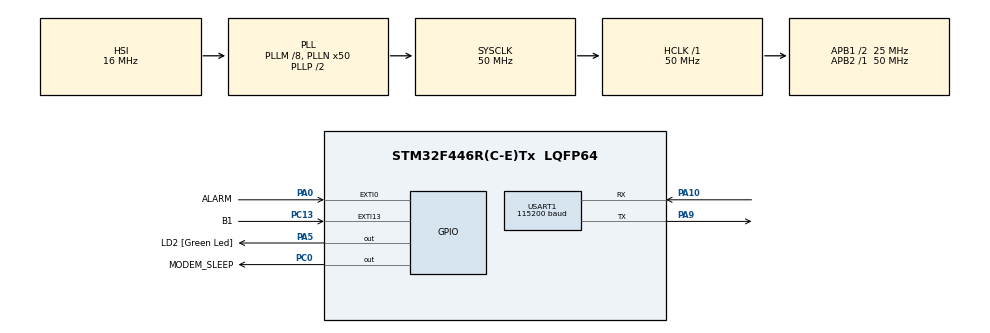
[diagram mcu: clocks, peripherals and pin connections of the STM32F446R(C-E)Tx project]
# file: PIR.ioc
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FREERTOS.Tasks01=defaultTask,24,128,StartDefaultTask,Default,NULL,Dynamic,NULL,NULL
FREERTOS.configTOTAL_HEAP_SIZE=61440
FREERTOS.configUSE_NEWLIB_REENTRANT=1
Mcu.Family=STM32F4
Mcu.Name=STM32F446R(C-E)Tx
Mcu.Package=LQFP64
NVIC.EXTI0_IRQn=true\:5\:0\:false\:false\:true\:true\:true\:true\:true
NVIC.EXTI15_10_IRQn=true\:5\:0\:false\:false\:true\:true\:true\:true\:true
NVIC.PriorityGroup=NVIC_PRIORITYGROUP_4
NVIC.RTC_Alarm_IRQn=true\:5\:0\:false\:false\:true\:true\:true\:true\:true
NVIC.TIM1_UP_TIM10_IRQn=true\:0\:0\:true\:false\:true\:false\:false\:true\:true
NVIC.TimeBase=TIM1_UP_TIM10_IRQn
NVIC.TimeBaseIP=TIM1
PA0-WKUP.GPIO_Label=ALARM
PA0-WKUP.GPIO_ModeDefaultEXTI=GPIO_MODE_IT_RISING
PA0-WKUP.GPIO_PuPd=GPIO_PULLUP
PA0-WKUP.Signal=GPXTI0
PA10.Mode=Asynchronous
PA10.Signal=USART1_RX
PA13.GPIO_Label=TMS
PA13.Mode=Serial_Wire
PA13.Signal=SYS_JTMS-SWDIO
PA14.GPIO_Label=TCK
PA14.Mode=Serial_Wire
PA14.Signal=SYS_JTCK-SWCLK
PA2.GPIO_ModeDefaultPP=GPIO_MODE_AF_PP
PA2.GPIO_PuPd=GPIO_NOPULL
PA2.GPIO_Speed=GPIO_SPEED_FREQ_VERY_HIGH
PA2.Signal=USART2_TX
PA3.GPIO_ModeDefaultPP=GPIO_MODE_AF_PP
PA3.GPIO_PuPd=GPIO_NOPULL
PA3.GPIO_Speed=GPIO_SPEED_FREQ_VERY_HIGH
PA3.Signal=USART2_RX
PA5.GPIO_Label=LD2 [Green Led]
PA5.Signal=GPIO_Output
PA9.GPIO_PuPd=GPIO_PULLUP
PA9.Mode=Asynchronous
PA9.Signal=USART1_TX
PB3.GPIO_Label=SWO
PB3.Signal=SYS_JTDO-SWO
PC0.GPIO_Label=MODEM_SLEEP
PC0.GPIO_Speed=GPIO_SPEED_FREQ_LOW
PC0.Signal=GPIO_Output
PC13.GPIO_Label=B1
PC13.GPIO_ModeDefaultEXTI=GPIO_MODE_IT_FALLING
PC13.GPIO_PuPd=GPIO_PULLUP
PC13.Signal=GPXTI13
ProjectManager.HeapSize=0x200
ProjectManager.StackSize=0x400
ProjectManager.TargetToolchain=STM32CubeIDE
RCC.48MHZClocksFreq_Value=84000000
RCC.AHBFreq_Value=50000000
RCC.APB1CLKDivider=RCC_HCLK_DIV2
RCC.APB1Freq_Value=25000000
RCC.APB1TimFreq_Value=50000000
RCC.APB2Freq_Value=50000000
RCC.APB2TimFreq_Value=50000000
RCC.CortexFreq_Value=50000000
RCC.FLatency-AdvancedSettings=FLASH_LATENCY_1
RCC.HCLKFreq_Value=50000000
RCC.HSE_VALUE=8000000
RCC.HSI_VALUE=16000000
RCC.PLLM=8
RCC.PLLN=50
RCC.SYSCLKFreq_VALUE=50000000
RCC.SYSCLKSource=RCC_SYSCLKSOURCE_PLLCLK
RCC.USBFreq_Value=50000000
RCC.VCOOutputFreq_Value=100000000
RTC.Alarm=RTC_ALARM_A
USART1.BaudRate=115200
USART1.VirtualMode=VM_ASYNC
VP_FREERTOS_VS_CMSIS_V2.Mode=CMSIS_V2
VP_RTC_VS_RTC_Activate.Mode=RTC_Enabled
VP_RTC_VS_RTC_Alarm_A_Intern.Mode=Alarm A
VP_RTC_VS_RTC_Calendar.Mode=RTC_Calendar
VP_SYS_VS_tim1.Mode=TIM1
board=NUCLEO-F446RE

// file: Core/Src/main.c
/* USER CODE BEGIN Header */
/**
 ******************************************************************************
 * @file           : main.c
 * @brief          : Main program body - Gestion Modem A7670G (Mode CSCLK=2)
 ******************************************************************************
 */
/* USER CODE END Header */
#include "main.h"
#include "cmsis_os.h"

/* USER CODE BEGIN Includes */
#include <string.h>
#include <stdio.h>
#include <stm32f446xx.h>
/* USER CODE END Includes */

/* USER CODE BEGIN PD */
#define LED_PIN GPIO_PIN_5
#define LED_PORT GPIOA
/* USER CODE END PD */

RTC_HandleTypeDef hrtc;

UART_HandleTypeDef huart1;

/* Definitions for defaultTask */
osThreadId_t defaultTaskHandle;
const osThreadAttr_t defaultTask_attributes = {
  .name = "defaultTask",
  .stack_size = 128 * 4,
  .priority = (osPriority_t) osPriorityNormal,
};
/* USER CODE BEGIN PV */
osSemaphoreId_t mySemaphoreAlarm; // Semaphore alarme
char modem_buffer[512] = {0}; // Buffer réception modem
/* USER CODE END PV */

void SystemClock_Config(void);
static void MX_GPIO_Init(void);
static void MX_RTC_Init(void);
static void MX_USART1_UART_Init(void);
void StartDefaultTask(void *argument);

/* USER CODE BEGIN PFP */
void ThreadAlarm(void *argument);
void ThreadReception(void *argument);
ModemStatus Modem_Set_Sleep_Mode(int mode);
ModemStatus Modem_Check_Alive(void);
ModemStatus Modem_Send_AT_Wait(char* cmd, char* expected_resp, uint32_t timeout);
ModemStatus Modem_Init_Sequence(void);
ModemStatus Modem_Send_SMS(char* phone_number, char* message);
void Modem_Free_Send_Notif(UART_HandleTypeDef *huart, char *user, char *pass, char *msg);
void Modem_Free_Init(void);
int Modem_Get_Signal_Quality(void);
ModemStatus Modem_Init(void);
/* USER CODE END PFP */

/* USER CODE BEGIN 0 */

// Redirection de printf vers ITM (SWO)
int _write(int file, char *ptr, int len)
{
	for (int i = 0; i < len; i++)
		ITM_SendChar(*ptr++);
	return len;
}

/* Synchronisation de l'heure via NTP (Internet) */
ModemStatus Modem_Sync_Time_NTP(void) {
	printf("\tSync Heure NTP...");

	// 1. Configurer le serveur NTP
	// "fr.pool.ntp.org" = Serveur français
	// 4 = GMT+1 (4 quarts d'heure). Mets 8 pour l'été (GMT+2).
	if (Modem_Send_AT_Wait("AT+CNTP=\"fr.pool.ntp.org\",0\r", "OK", 2000) != MODEM_OK) {
		printf(" FAIL (Config)\n");
		return ERR_NTP; // Code erreur générique, tu peux en créer un spécifique
	}

	// 2. Lancer la synchro
	// Le modem répond d'abord "OK", puis quelques secondes après "+CNTP: 0" (Succès)
	// On met un timeout long (15s) pour laisser le temps au réseau
	if (Modem_Send_AT_Wait("AT+CNTP\r", "+CNTP: 0", 15000) != MODEM_OK) {
		printf(" FAIL (Timeout ou Erreur Reseau)\n");
		return ERR_NTP;
	}

	printf(" OK\n");

	// 3. Lire l'heure fraîchement acquise et mettre à jour le STM32
	// Une fois CNTP ok, l'horloge interne du modem (CCLK) est à jour.
	// On la récupère pour régler le RTC du microcontrôleur.
	memset(modem_buffer, 0, sizeof(modem_buffer));
	if (Modem_Send_AT_Wait("AT+CCLK?\r", "OK", 1000) == MODEM_OK) {

		// Format reçu : +CCLK: "yy/MM/dd,hh:mm:ss+zz"
		char *ptr = strstr(modem_buffer, "+CCLK: \"");
		if (ptr != NULL) {
			RTC_TimeTypeDef sTime = {0};
			RTC_DateTypeDef sDate = {0};

			ptr += 8; // On saute +CCLK: "

			// Parsing rapide (Attention : sscanf dépend de ta lib standard, sinon faire manuellement)
			int yy, MM, dd, hh, mm, ss;
			sscanf(ptr, "%d/%d/%d,%d:%d:%d", &yy, &MM, &dd, &hh, &mm, &ss);

			sTime.Hours = hh;
			sTime.Minutes = mm;
			sTime.Seconds = ss;
			HAL_RTC_SetTime(&hrtc, &sTime, RTC_FORMAT_BIN);

			sDate.Year = yy; // Le RTC STM32 prend l'année sur 2 digits (20xx)
			sDate.Month = MM;
			sDate.Date = dd;
			// Note: Le WeekDay n'est pas calculé ici, mais c'est pas critique pour toi
			HAL_RTC_SetDate(&hrtc, &sDate, RTC_FORMAT_BIN);

			printf("\tRTC STM32 mis a jour: %02d:%02d:%02d\n", hh, mm, ss);
		}
	}

	return MODEM_OK;
}

/* Fonction d'encodage URL simple (remplace espaces par %20) */
void url_encode(char *dest, const char *src) {
	while (*src) {
		if (*src == ' ') {
			// On remplace l'espace par %20
			*dest++ = '%';
			*dest++ = '2';
			*dest++ = '0';
		} else {
			// On recopie le caractère tel quel
			*dest++ = *src;
		}
		src++;
	}
	*dest = '\0'; // On termine la chaîne de caractères
}

/* Récupération de l'heure réseau brute (format YY/MM/DD,HH:MM) */
void Get_Network_Time_Raw(char *dest_time) {
	strcpy(dest_time, "Date_Inconnue");

	// Nettoyage buffer
	memset(modem_buffer, 0, sizeof(modem_buffer));

	if (Modem_Send_AT_Wait("AT+CCLK?\r", "OK", 1000) == MODEM_OK) {
		osDelay(100); // Laisse l'UART finir la réception
		char *ptr = strstr(modem_buffer, "\"");
		if (ptr != NULL) {
			ptr++;
			strncpy(dest_time, ptr, 14); // Copie "YY/MM/DD,HH:MM"
			dest_time[14] = '\0';
		}
	}
}

/* Gestion GPIO Modem Sleep */
void gpio_Wakeup(void) {
	HAL_GPIO_WritePin(MODEM_SLEEP_GPIO_Port, MODEM_SLEEP_Pin, GPIO_PIN_SET);
	osDelay(50);
	printf("Modem reveille.\n");
}

/* Gestion GPIO Modem Sleep */
void gpio_Sleep(void) {
	osDelay(50);
	HAL_GPIO_WritePin(MODEM_SLEEP_GPIO_Port, MODEM_SLEEP_Pin, GPIO_PIN_RESET);
	printf("Modem en veille.\n");
}

/* Gestion LED */
void LED_ON(void)
{
	HAL_GPIO_WritePin(LED_PORT, LED_PIN, GPIO_PIN_SET);
}
/* Gestion LED */
void LED_OFF(void) {
	HAL_GPIO_WritePin(LED_PORT, LED_PIN, GPIO_PIN_RESET);
}

/* Configuration mode veille automatique CSCLK */
ModemStatus Modem_Set_Sleep_Mode(int mode) {

	char cmd[32];

	ModemStatus status = ERR_SLEEPMODE;
	sprintf(cmd, "AT+CSCLK=%d\r", mode);
	status = Modem_Send_AT_Wait(cmd, "OK", 1000);
	if (status != MODEM_OK) {
		printf("Erreur activation CSCLK=%i\n",mode);
	}
	else {
		printf("Mode CSCLK=%i actif.\n",mode);
	}
	return status;
}

/* Vérification si le modem répond */
ModemStatus Modem_Check_Alive() {
	int essais_max = 20;

	// On nettoie préventivement l'UART (ORE)
	if (__HAL_UART_GET_FLAG(&huart1, UART_FLAG_ORE)) {
		__HAL_UART_CLEAR_OREFLAG(&huart1);
		volatile uint32_t tmpreg = huart1.Instance->DR; (void)tmpreg;
	}

	for (int i = 0; i < essais_max; i++) {
		printf("Ping modem (%d/%d)...\n", i+1, essais_max);

		// Si tu utilises ta fonction qui attend la réponse :
		if (Modem_Send_AT_Wait("AT\r", "OK", 200) == MODEM_OK) { // Timeout court (200ms)

			// 2. VICTOIRE ! On a eu "OK".
			// On ne spamme plus, on sort immédiatement.
			printf(" -> Modem repond ! On arrete le spam.\n");

			// Petit délai de sécurité pour vider les buffers si besoin
			osDelay(50);
			return MODEM_OK; // Succès
		}

		osDelay(50);
	}

	return ERR_NOT_ALIVE; // Le modem est mort ou sourd
}

/* Envoi d'une commande AT et attente d'une réponse spécifique */
ModemStatus Modem_Send_AT_Wait(char* cmd, char* expected_resp, uint32_t timeout) {

	// 1. Nettoyage PRÉVENTIF (Si un Overrun traîne, on le vire)
	if (__HAL_UART_GET_FLAG(&huart1, UART_FLAG_ORE)) {
		__HAL_UART_CLEAR_OREFLAG(&huart1);
		volatile uint32_t tmpreg = huart1.Instance->DR; (void)tmpreg;
	}

	// 2. Envoi
	memset(modem_buffer, 0, sizeof(modem_buffer));
	HAL_UART_Transmit(&huart1, (uint8_t*)cmd, strlen(cmd), 1000);

	// 3. Réception
	uint32_t tickstart = HAL_GetTick();
	int index = 0;

	while ((HAL_GetTick() - tickstart) < timeout) {
		uint8_t received_char = 0;

		// On récupère le statut de la lecture
		HAL_StatusTypeDef status = HAL_UART_Receive(&huart1, &received_char, 1, 10);

		if (status == HAL_OK) {
			// Lecture réussie
			if (index < sizeof(modem_buffer) - 1) {
				modem_buffer[index++] = received_char;
				modem_buffer[index] = '\0';
			}
			// Vérification de la réponse
			if (strstr(modem_buffer, expected_resp) != NULL) {
				return MODEM_OK;
			}
		}
		else if (status == HAL_ERROR) {
			// <<< CORRECTION OVERRUN >>>
			// Si le STM32 détecte une erreur (bruit, overrun), il faut l'acquitter
			if (__HAL_UART_GET_FLAG(&huart1, UART_FLAG_ORE)) {
				__HAL_UART_CLEAR_OREFLAG(&huart1);
				// Lecture fictive du DR pour valider le clear (F4/F1)
				volatile uint32_t tmpreg = huart1.Instance->DR;
				(void)tmpreg;
			}
		}
	}
	return ERR_NOT_INITIALIZED; // Timeout
}

/* Thread alarm */
void ThreadAlarm(void *argument)
{
	static uint32_t last_sms_tick = 0;
	const uint32_t SMS_COOLDOWN = 12000;
	static uint32_t cptAlarm = 0;
	char buffer_msg[64]={0};

	for(;;)
	{
		osSemaphoreAcquire(mySemaphoreAlarm, osWaitForever);
		LED_ON();

		if (HAL_GetTick() - last_sms_tick > SMS_COOLDOWN)
		{
			printf("Alarme VALIDE\n");
			gpio_Wakeup();

			cptAlarm++;

			if (Modem_Check_Alive() == MODEM_OK)
			{
				snprintf(buffer_msg, sizeof(buffer_msg), "@ %lu", cptAlarm);
				Modem_Free_Send_Notif(&huart1, USER_FREE, CLE_API, buffer_msg);
			}

			last_sms_tick = HAL_GetTick();

			printf("Attente transmission radio (10s)...\n");
			osDelay(10000);
		}
		else
		{
			printf("Alarme ignoree (Cooldown actif)\n");
		}

		gpio_Sleep();
		LED_OFF();
		osSemaphoreAcquire(mySemaphoreAlarm, 0);
	}
}

// Thread réception (Echo simple pour l'instant)
void ThreadReception(void *argument)
{
	for(;;)
	{
		osDelay(10);
	}
}

/* Séquence d'initialisation du modem */
ModemStatus Modem_Init_Sequence(void) {
	int retry = 0;
	ModemStatus retVal = ERR_NOT_INITIALIZED;

	memset(modem_buffer, 0, sizeof(modem_buffer));

	if ( Modem_Check_Alive() != MODEM_OK ) {
		printf("Modem non joignable apres 10 essais.\n");
		return ERR_NOT_INITIALIZED;
	}

	// 1. Sync Baudrate
	printf("\tSync baudrate...");
	while(Modem_Send_AT_Wait("AT\r", "OK", 500) != MODEM_OK) {
		retry++;
		if(retry > 10) {
			printf(" FAIL\n");
			return ERR_AT_SYNC;
		}
		osDelay(200);
	}
	printf(" OK\n");

	osDelay(50);

	// 3. Carte SIM
	printf("\tVerif SIM...");
	if (Modem_Send_AT_Wait("AT+CPIN?\r", "+CPIN: READY", 500) != MODEM_OK) {
		if (Modem_Send_AT_Wait("AT+CPIN?\r", "+CPIN: SIM PIN", 500) == MODEM_OK) {
			if (Modem_Send_AT_Wait(AT_PIN_CMD, "OK", 2000) != MODEM_OK) return ERR_CPIN;
			osDelay(3000);
			if (Modem_Send_AT_Wait("AT+CPIN?\r", "+CPIN: READY", 1000) != MODEM_OK) return ERR_CPIN;
		}
	}
	printf(" OK\n");

	// 4. Réseau
	printf("\tVerif Reseau... ");
	if (Modem_Send_AT_Wait("AT+CEREG?\r", "OK", 5000) == MODEM_OK) {
		// Accepte Home(1), Roaming(5), SMS Home(6), SMS Roaming(7)
		if (strstr(modem_buffer, "+CEREG: 0,1") || strstr(modem_buffer, "+CEREG: 0,5") ||
				strstr(modem_buffer, "+CEREG: 0,6") || strstr(modem_buffer, "+CEREG: 0,7"))
		{
			int niveau = Modem_Get_Signal_Quality();
			printf("OK [signal: %d/31]\n", niveau);
			retVal = MODEM_OK;
		} else {
			printf(" FAIL (Not registered on LTE)\n");
			return ERR_CREG;
		}
	}

	Modem_Free_Init();

	// Mise a jour de l heure par NTP
	Modem_Sync_Time_NTP();

	return retVal;
}

/* Envoi d'un SMS via le modem A7670G */
ModemStatus Modem_Send_SMS(char* phone_number, char* message) {
	char cmd[64];
	uint8_t ctrlz = 26;

	// on n utilise plus pour le moment ...
	// FIXME : a utiliser si fail de l API
	printf("\tNE PAS UTILISER - Envoi SMS direct via Modem...\n");
	return MODEM_OK;

	// 1. Passage en mode Texte
	if (Modem_Send_AT_Wait("AT+CMGF=1\r", "OK", 1000) != MODEM_OK) {
		return ERR_SMS_FORMAT;
	}

	// 2. Numéro
	sprintf(cmd, "AT+CMGS=\"%s\"\r", phone_number);
	printf("\tEnvoi SMS <");
	printf("%s", message);

	if (Modem_Send_AT_Wait(cmd, ">>", 2000) != MODEM_OK) {
		printf("Erreur Prompt >\n");
		return ERR_SMS_NUMBER;
	}

	// 3. Corps + CTRL-Z
	HAL_UART_Transmit(&huart1, (uint8_t*)message, strlen(message), 1000);
	HAL_UART_Transmit(&huart1, &ctrlz, 1, 100);

	// 4. Confirmation (Timeout long)
	if (Modem_Send_AT_Wait("", ">> OK", 10000) != MODEM_OK) {
		printf(" FAIL (Pas de confirmation)\n");
		//FIXME : si le modem est eteint puis rallume, il faut le reinitialiser, puis renvoyer le SMS : a traiter

	} else {
		printf("OK\n");
	}

	return MODEM_OK;
}

/* * Fonction pour envoyer une notif Free Mobile via A7670 (Data/HTTPS)
 * huart : pointeur vers ton UART (ex: &huart1)
 * user  : ton identifiant Free (ex: "12345678")
 * pass  : ta clé API (ex: "AbCdEfGhIjK")
 * msg   : le message (ATTENTION: Pas d'espaces, utilise des %20 ou des underscores)
 */
void Modem_Free_Send_Notif(UART_HandleTypeDef *huart, char *user, char *pass, char *msg) {
	char time_now[20];
	char raw_full_msg[200];
	char encoded_full_msg[512];
	char http_cmd[600];

	// 1. On récupère l'heure (YY/MM/DD,HH:MM)
	Get_Network_Time_Raw(time_now);

	// 2. MODIFICATION ICI : On insère " GMT" dans les crochets
	sprintf(raw_full_msg, "%s GMT %s", time_now, msg);

	// 3. Encodage URL
	url_encode(encoded_full_msg, raw_full_msg);

	printf("SMS Final : %s\n", raw_full_msg);

	// ... La suite de la fonction reste identique (HTTPTERM, HTTPINIT, etc.) ...
	Modem_Send_AT_Wait("AT+HTTPTERM\r\n", "OK", 500);
	if (Modem_Send_AT_Wait("AT+HTTPINIT\r\n", "OK", 1000) != MODEM_OK){
		printf("\tProbleme de requette HTTP");
		// TODO : gérer l'erreur car le modem ne repond plus, par exemple suite a un redemarrage
		// suite pb alimentation ... le code se bloque a ce moment du code suite redemarrage Modem
		Error_Handler();
		return;
	}

	sprintf(http_cmd, "AT+HTTPPARA=\"URL\",\"https://smsapi.free-mobile.fr/sendmsg?user=%s&pass=%s&msg=%s\"\r\n",
			user, pass, encoded_full_msg);

	Modem_Send_AT_Wait(http_cmd, "OK", 1000);

	if (Modem_Send_AT_Wait("AT+HTTPACTION=0\r\n", "+HTTPACTION: 0,200", 15000) == MODEM_OK) {
		printf("SMS envoye\n");
	} else {
		printf("Echec envoi SMS\n");
	}
	Modem_Send_AT_Wait("AT+HTTPTERM\r\n", "OK", 1000);
}

/* Initialisation spécifique Free Mobile (APN, PDP) */
void Modem_Free_Init(void) {
    // On utilise un buffer local pour éviter de compter les caractères à la main
    char cmd[64];

    printf("--- Config APN Free ---\n");

    // 1. Configurer l'APN
    // On prépare la commande proprement
    sprintf(cmd, "AT+CGDCONT=1,\"IP\",\"free\"\r");

    // On utilise TA fonction standard (qui gère les timeouts, le nettoyage buffer, etc.)
    if (Modem_Send_AT_Wait(cmd, "OK", 2000) != MODEM_OK) {
        printf("Erreur Config APN\n");
        // Optionnel : return; si c'est critique
    }

    // 2. Activer la Data
    printf("Activation DATA...\n");
    // Si c'est déjà activé, le modem peut répondre ERROR ou OK, on gère les deux cas si besoin
    Modem_Send_AT_Wait("AT+CGACT=1,1\r", "OK", 3000);

    // Petit temps de respiration pour le modem
    osDelay(2000);

    printf("--- Config Done ---\n");
}

/* Récupération de la qualité du signal (RSSI) */
int Modem_Get_Signal_Quality(void) {
	char* ptr;
	int rssi = -1;

	memset(modem_buffer, 0, sizeof(modem_buffer));

	if (Modem_Send_AT_Wait("AT+CSQ\r", "OK", 2000) == MODEM_OK) {
		ptr = strstr(modem_buffer, "+CSQ: ");
		if (ptr != NULL) sscanf(ptr + 6, "%d", &rssi);
	}
	return rssi;
}

/* Séquence complète d'initialisation du modem avec retries */
ModemStatus Modem_Init(void) {
	ModemStatus status = ERR_NOT_INITIALIZED;
	int tentative = 0;

	printf("Demarrage Modem:\n");
	HAL_Delay(5000);

	// 1. reveil par DTR
	gpio_Wakeup();

	// 2. Boucle d'initialisation
	do {
		tentative++;
		printf("   Initialisation Modem (Tentative %d/3)...\n", tentative);

		status = Modem_Init_Sequence();

		if (status == MODEM_OK) break;

		if (tentative < 3) {
			printf("\tEchec. Retry dans 5s...\n");
			// On ne peut pas hard-reset via PWRKEY, donc on attend juste.
			// On peut essayer un soft reset si l'UART répondait un peu
			HAL_UART_Transmit(&huart1, (uint8_t*)"AT+CRESET\r", 10, 100);
			osDelay(5000);
		}
	} while (tentative < 3);

	if (status != MODEM_OK) {
		gpio_Sleep();
		printf("!! Echec critique !!\n");
		Error_Handler();
	}
	else {
		printf("Systeme fonctionnel.\n");
		Modem_Free_Send_Notif(&huart1, USER_FREE, CLE_API, "On ...");
		osDelay(10000);
		status = Modem_Set_Sleep_Mode(SLEEP_MODE_DTR);
		gpio_Sleep();
	}

	return status;
}

/* USER CODE END 0 */

int main(void)
{

  /* MCU Configuration--------------------------------------------------------*/

  /* Reset of all peripherals, Initializes the Flash interface and the Systick. */
  HAL_Init();

  /* Configure the system clock */
  SystemClock_Config();

  /* Initialize all configured peripherals */
  MX_GPIO_Init();
  MX_RTC_Init();
  MX_USART1_UART_Init();

  /* Init scheduler */
  osKernelInitialize();

  /* USER CODE BEGIN RTOS_SEMAPHORES */
	const osSemaphoreAttr_t mySemaphoreAlarm_attributes = { .name = "mySemaphoreAlarm" };
	mySemaphoreAlarm = osSemaphoreNew(1, 0, &mySemaphoreAlarm_attributes);

	if (mySemaphoreAlarm == NULL) Error_Handler();
  /* USER CODE END RTOS_SEMAPHORES */

  /* Create the thread(s) */
  /* creation of defaultTask */
  defaultTaskHandle = osThreadNew(StartDefaultTask, NULL, &defaultTask_attributes);

  /* USER CODE BEGIN RTOS_THREADS */
	const osThreadAttr_t highAttr = { .name = "HighThread", .stack_size = 512 * 4, .priority = (osPriority_t) osPriorityHigh };
	const osThreadAttr_t lowAttr = { .name = "LowThread", .stack_size = 512 * 4, .priority = (osPriority_t) osPriorityBelowNormal };

	Modem_Init();

	osThreadNew(ThreadAlarm, NULL, &highAttr);
	osThreadNew(ThreadReception, NULL, &lowAttr);
  /* USER CODE END RTOS_THREADS */

  /* Start scheduler */
  osKernelStart();

  /* We should never get here as control is now taken by the scheduler */

  /* Infinite loop */
	while (1)
	{

	}
}

void SystemClock_Config(void)
{
  RCC_OscInitTypeDef RCC_OscInitStruct = {0};
  RCC_ClkInitTypeDef RCC_ClkInitStruct = {0};

  /** Configure the main internal regulator output voltage
  */
  __HAL_RCC_PWR_CLK_ENABLE();
  __HAL_PWR_VOLTAGESCALING_CONFIG(PWR_REGULATOR_VOLTAGE_SCALE3);

  /** Initializes the RCC Oscillators according to the specified parameters
  * in the RCC_OscInitTypeDef structure.
  */
  RCC_OscInitStruct.OscillatorType = RCC_OSCILLATORTYPE_HSI|RCC_OSCILLATORTYPE_LSI;
  RCC_OscInitStruct.LSEState = RCC_LSE_OFF;
  RCC_OscInitStruct.HSIState = RCC_HSI_ON;
  RCC_OscInitStruct.HSICalibrationValue = RCC_HSICALIBRATION_DEFAULT;
  RCC_OscInitStruct.LSIState = RCC_LSI_ON;
  RCC_OscInitStruct.PLL.PLLState = RCC_PLL_ON;
  RCC_OscInitStruct.PLL.PLLSource = RCC_PLLSOURCE_HSI;
  RCC_OscInitStruct.PLL.PLLM = 8;
  RCC_OscInitStruct.PLL.PLLN = 50;
  RCC_OscInitStruct.PLL.PLLP = RCC_PLLP_DIV2;
  RCC_OscInitStruct.PLL.PLLQ = 2;
  RCC_OscInitStruct.PLL.PLLR = 2;
  if (HAL_RCC_OscConfig(&RCC_OscInitStruct) != HAL_OK)
  {
    Error_Handler();
  }

  /** Initializes the CPU, AHB and APB buses clocks
  */
  RCC_ClkInitStruct.ClockType = RCC_CLOCKTYPE_HCLK|RCC_CLOCKTYPE_SYSCLK
                              |RCC_CLOCKTYPE_PCLK1|RCC_CLOCKTYPE_PCLK2;
  RCC_ClkInitStruct.SYSCLKSource = RCC_SYSCLKSOURCE_PLLCLK;
  RCC_ClkInitStruct.AHBCLKDivider = RCC_SYSCLK_DIV1;
  RCC_ClkInitStruct.APB1CLKDivider = RCC_HCLK_DIV2;
  RCC_ClkInitStruct.APB2CLKDivider = RCC_HCLK_DIV1;

  if (HAL_RCC_ClockConfig(&RCC_ClkInitStruct, FLASH_LATENCY_1) != HAL_OK)
  {
    Error_Handler();
  }
}

static void MX_RTC_Init(void)
{

  RTC_TimeTypeDef sTime = {0};
  RTC_DateTypeDef sDate = {0};
  RTC_AlarmTypeDef sAlarm = {0};

  /** Initialize RTC Only
  */
  hrtc.Instance = RTC;
  hrtc.Init.HourFormat = RTC_HOURFORMAT_24;
  hrtc.Init.AsynchPrediv = 127;
  hrtc.Init.SynchPrediv = 255;
  hrtc.Init.OutPut = RTC_OUTPUT_DISABLE;
  hrtc.Init.OutPutPolarity = RTC_OUTPUT_POLARITY_HIGH;
  hrtc.Init.OutPutType = RTC_OUTPUT_TYPE_OPENDRAIN;
  if (HAL_RTC_Init(&hrtc) != HAL_OK)
  {
    Error_Handler();
  }

  /** Initialize RTC and set the Time and Date
  */
  sTime.Hours = 0x0;
  sTime.Minutes = 0x0;
  sTime.Seconds = 0x0;
  sTime.DayLightSaving = RTC_DAYLIGHTSAVING_NONE;
  sTime.StoreOperation = RTC_STOREOPERATION_RESET;
  if (HAL_RTC_SetTime(&hrtc, &sTime, RTC_FORMAT_BCD) != HAL_OK)
  {
    Error_Handler();
  }
  sDate.WeekDay = RTC_WEEKDAY_MONDAY;
  sDate.Month = RTC_MONTH_JANUARY;
  sDate.Date = 0x1;
  sDate.Year = 0x0;

  if (HAL_RTC_SetDate(&hrtc, &sDate, RTC_FORMAT_BCD) != HAL_OK)
  {
    Error_Handler();
  }

  /** Enable the Alarm A
  */
  sAlarm.AlarmTime.Hours = 0x0;
  sAlarm.AlarmTime.Minutes = 0x0;
  sAlarm.AlarmTime.Seconds = 0x0;
  sAlarm.AlarmTime.SubSeconds = 0x0;
  sAlarm.AlarmTime.DayLightSaving = RTC_DAYLIGHTSAVING_NONE;
  sAlarm.AlarmTime.StoreOperation = RTC_STOREOPERATION_RESET;
  sAlarm.AlarmMask = RTC_ALARMMASK_NONE;
  sAlarm.AlarmSubSecondMask = RTC_ALARMSUBSECONDMASK_ALL;
  sAlarm.AlarmDateWeekDaySel = RTC_ALARMDATEWEEKDAYSEL_DATE;
  sAlarm.AlarmDateWeekDay = 0x1;
  sAlarm.Alarm = RTC_ALARM_A;
  if (HAL_RTC_SetAlarm_IT(&hrtc, &sAlarm, RTC_FORMAT_BCD) != HAL_OK)
  {
    Error_Handler();
  }

}

static void MX_USART1_UART_Init(void)
{

  huart1.Instance = USART1;
  huart1.Init.BaudRate = 115200;
  huart1.Init.WordLength = UART_WORDLENGTH_8B;
  huart1.Init.StopBits = UART_STOPBITS_1;
  huart1.Init.Parity = UART_PARITY_NONE;
  huart1.Init.Mode = UART_MODE_TX_RX;
  huart1.Init.HwFlowCtl = UART_HWCONTROL_NONE;
  huart1.Init.OverSampling = UART_OVERSAMPLING_16;
  if (HAL_UART_Init(&huart1) != HAL_OK)
  {
    Error_Handler();
  }

}

static void MX_GPIO_Init(void)
{
  GPIO_InitTypeDef GPIO_InitStruct = {0};

  /* GPIO Ports Clock Enable */
  __HAL_RCC_GPIOC_CLK_ENABLE();
  __HAL_RCC_GPIOA_CLK_ENABLE();
  __HAL_RCC_GPIOB_CLK_ENABLE();

  /*Configure GPIO pin Output Level */
  HAL_GPIO_WritePin(MODEM_SLEEP_GPIO_Port, MODEM_SLEEP_Pin, GPIO_PIN_RESET);

  /*Configure GPIO pin Output Level */
  HAL_GPIO_WritePin(LD2_GPIO_Port, LD2_Pin, GPIO_PIN_RESET);

  /*Configure GPIO pin : B1_Pin */
  GPIO_InitStruct.Pin = B1_Pin;
  GPIO_InitStruct.Mode = GPIO_MODE_IT_FALLING;
  GPIO_InitStruct.Pull = GPIO_PULLUP;
  HAL_GPIO_Init(B1_GPIO_Port, &GPIO_InitStruct);

  /*Configure GPIO pin : MODEM_SLEEP_Pin */
  GPIO_InitStruct.Pin = MODEM_SLEEP_Pin;
  GPIO_InitStruct.Mode = GPIO_MODE_OUTPUT_PP;
  GPIO_InitStruct.Pull = GPIO_NOPULL;
  GPIO_InitStruct.Speed = GPIO_SPEED_FREQ_LOW;
  HAL_GPIO_Init(MODEM_SLEEP_GPIO_Port, &GPIO_InitStruct);

  /*Configure GPIO pin : ALARM_Pin */
  GPIO_InitStruct.Pin = ALARM_Pin;
  GPIO_InitStruct.Mode = GPIO_MODE_IT_RISING;
  GPIO_InitStruct.Pull = GPIO_PULLUP;
  HAL_GPIO_Init(ALARM_GPIO_Port, &GPIO_InitStruct);

  /*Configure GPIO pins : PA2 PA3 */
  GPIO_InitStruct.Pin = GPIO_PIN_2|GPIO_PIN_3;
  GPIO_InitStruct.Mode = GPIO_MODE_AF_PP;
  GPIO_InitStruct.Pull = GPIO_NOPULL;
  GPIO_InitStruct.Speed = GPIO_SPEED_FREQ_VERY_HIGH;
  GPIO_InitStruct.Alternate = GPIO_AF7_USART2;
  HAL_GPIO_Init(GPIOA, &GPIO_InitStruct);

  /*Configure GPIO pin : LD2_Pin */
  GPIO_InitStruct.Pin = LD2_Pin;
  GPIO_InitStruct.Mode = GPIO_MODE_OUTPUT_PP;
  GPIO_InitStruct.Pull = GPIO_NOPULL;
  GPIO_InitStruct.Speed = GPIO_SPEED_FREQ_LOW;
  HAL_GPIO_Init(LD2_GPIO_Port, &GPIO_InitStruct);

  /* EXTI interrupt init*/
  HAL_NVIC_SetPriority(EXTI0_IRQn, 5, 0);
  HAL_NVIC_EnableIRQ(EXTI0_IRQn);

  HAL_NVIC_SetPriority(EXTI15_10_IRQn, 5, 0);
  HAL_NVIC_EnableIRQ(EXTI15_10_IRQn);

}

/* USER CODE BEGIN 4 */
void HAL_GPIO_EXTI_Callback(uint16_t GPIO_Pin)
{
	if (GPIO_Pin == GPIO_PIN_0) {
		osSemaphoreRelease(mySemaphoreAlarm);
	}
}
/* USER CODE END 4 */

void StartDefaultTask(void *argument)
{
	for(;;)
	{
		osDelay(1);
	}
}

void HAL_TIM_PeriodElapsedCallback(TIM_HandleTypeDef *htim)
{
  if (htim->Instance == TIM1)
  {
    HAL_IncTick();
  }
}

void Error_Handler(void)
{
  /* USER CODE BEGIN Error_Handler_Debug */
	/* User can add his own implementation to report the HAL error return state */
	__disable_irq();
	while (1)
	{
		printf("ERREUR CRITIQUE, REDEMARRAGE...\n");
		// on a plus qu a reset le systeme ... ;(
		NVIC_SystemReset();
	}
  /* USER CODE END Error_Handler_Debug */
}
